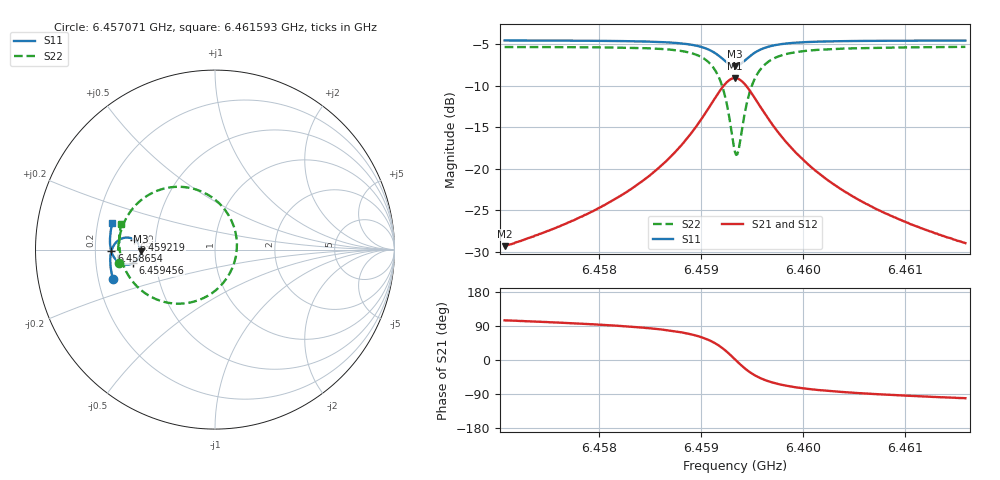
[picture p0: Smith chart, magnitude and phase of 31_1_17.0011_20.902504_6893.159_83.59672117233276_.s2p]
#  HZ  S  RI  R  50.00
! Rohde & Schwarz Vector Network Analyzer
! Rohde-Schwarz,ZNB20-2Port,1311601062101988,3.16
! Created: UTC 3/20/2024, 10:53:23 PM
! freq[Hz]  re:S11  im:S11  re:S21  im:S21  re:S12  im:S12  re:S22  im:S22
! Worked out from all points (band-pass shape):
!   401 points, 6.457071 GHz to 6.461593 GHz, reference 50 ohm
!   highest |S21| = -9.09 dB at 6.459332 GHz (marker M1); lowest = -29.3 dB at 6.457071 GHz (marker M2)
!   |S21| within 3 dB of the highest: 6.459105 GHz to 6.459557 GHz (452.1 kHz wide, 0.007 % of centre)
!   lowest |S11| = -7.6 dB at 6.459332 GHz (marker M3), VSWR 2.42, Z = 20.7 - j0.457 ohm
!   |S11| at or under -10 dB: nowhere
!   |S22| runs from -18.3 to -5.3 dB; largest |S21 - S12| = 0.014
!   S11 on the Smith chart (normalised r, x): 6.457071 GHz: 0.26, -0.13; 6.458654 GHz: 0.27, -0.01; 6.459219 GHz: 0.38, +0.05; 6.459456 GHz: 0.37, -0.07; 6.461593 GHz: 0.26, +0.12
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6.4570708e9  -0.568 -0.1665  -0.00862 0.0331  -0.00683 0.0331  -0.5349 -0.0758
6.4578283e9  -0.5811 -0.0997  -0.00517 0.0513  -0.00263 0.0507  -0.5388 0.0141
6.4582353e9  -0.5837 -0.0588  0.000734 0.0704  0.0041 0.069  -0.5299 0.0792
6.4585858e9  -0.5794 -0.0164  0.0156 0.1005  0.0193 0.0975  -0.5027 0.1594
6.4586536e9  -0.577 -0.00696  0.0209 0.1087  0.0251 0.1056  -0.4923 0.1793
6.4588458e9  -0.5639 0.0235  0.0482 0.1401  0.0523 0.135  -0.4409 0.2488
6.4589927e9  -0.5406 0.0497  0.0947 0.1707  0.0978 0.164  -0.3551 0.313
6.4591284e9  -0.4959 0.0669  0.1838 0.1865  0.1846 0.1794  -0.1922 0.3498
6.4592188e9  -0.4504 0.0558  0.2751 0.1537  0.2754 0.1479  -0.0233 0.2955
6.4592867e9  -0.4212 0.0225  0.3358 0.0794  0.3381 0.0741  0.092 0.1611
6.4593319e9  -0.4147 -0.00915  0.3512 0.0101  0.3552 0.0029  0.1222 0.0312
6.4593658e9  -0.4189 -0.0334  0.3446 -0.0431  0.3485 -0.0526  0.1084 -0.0696
6.459411e9  -0.4351 -0.0597  0.3146 -0.1034  0.3168 -0.1158  0.0474 -0.1833
6.4594563e9  -0.4576 -0.0761  0.2712 -0.1446  0.2704 -0.158  -0.0403 -0.2575
6.4595467e9  -0.5017 -0.0829  0.1851 -0.1748  0.1786 -0.1865  -0.2121 -0.3012
6.4596145e9  -0.5263 -0.0753  0.1361 -0.1721  0.1279 -0.1812  -0.3062 -0.2846
6.4596937e9  -0.546 -0.0623  0.0961 -0.1595  0.0875 -0.1659  -0.3807 -0.2488
6.4598519e9  -0.5678 -0.0343  0.0511 -0.1309  0.0434 -0.1336  -0.461 -0.1751
6.4600894e9  -0.5806 0.00119  0.022 -0.0986  0.0161 -0.0992  -0.5086 -0.0916
6.4604172e9  -0.5852 0.0407  0.0062 -0.0721  0.00214 -0.0717  -0.5293 -0.0142
6.4608468e9  -0.5834 0.0843  -0.00171 -0.0526  -0.00456 -0.0517  -0.5332 0.0562
6.461593e9  -0.5713 0.1506  -0.00669 -0.0351  -0.00845 -0.034  -0.5216 0.1451
